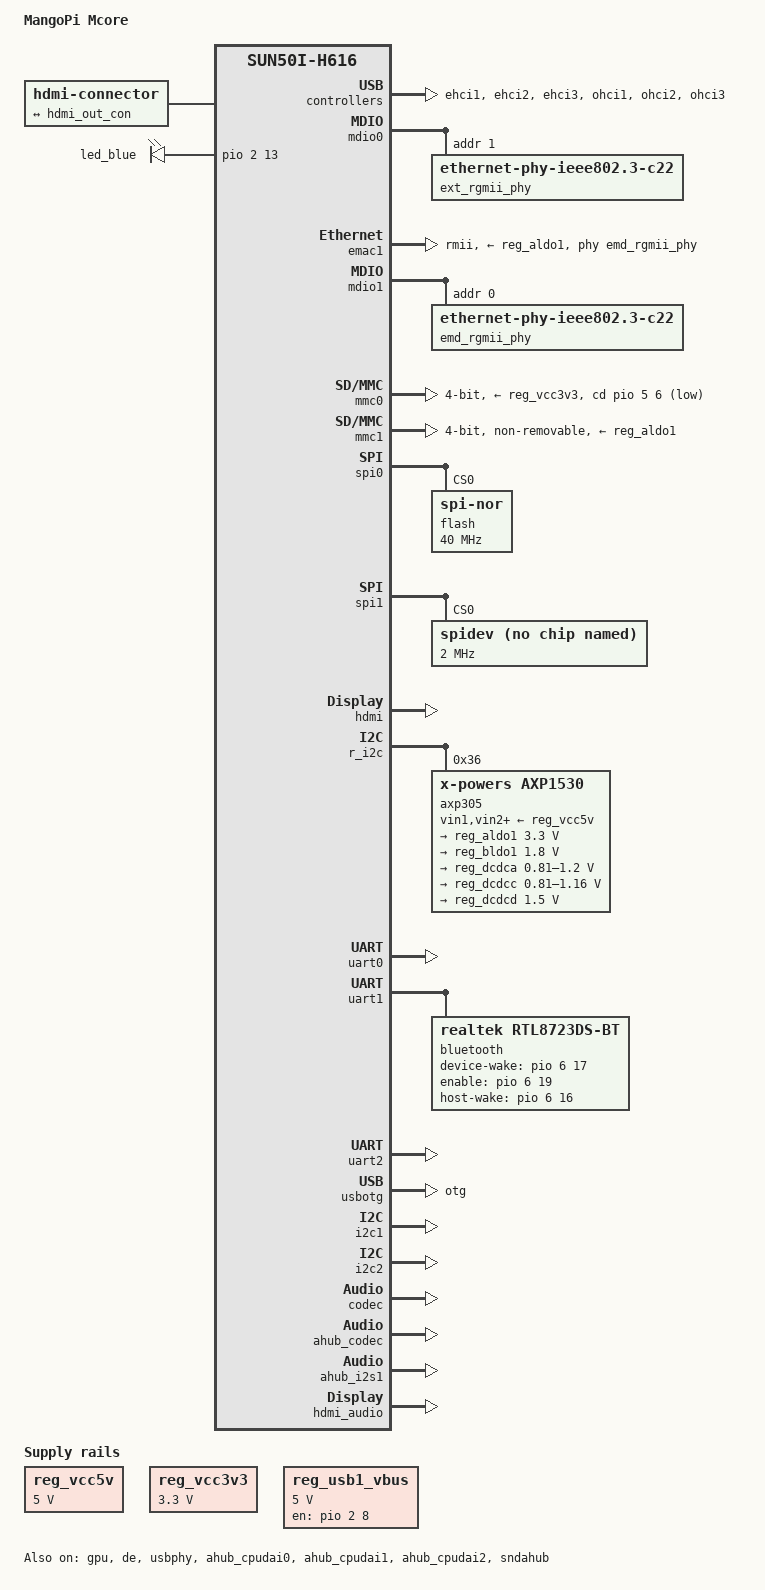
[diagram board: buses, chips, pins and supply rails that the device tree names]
// SPDX-License-Identifier: (GPL-2.0+ or MIT)
/*
 * Copyright (C) 2020 Arm Ltd.
 */

/dts-v1/;

#include "sun50i-h616.dtsi"

#include <dt-bindings/gpio/gpio.h>
#include <dt-bindings/interrupt-controller/arm-gic.h>
#include "sun50i-h616-cpu-opp.dtsi"

/ {
	model = "MangoPi Mcore";
	compatible = "mgcc,mangopi-mcore", "allwinner,sun50i-h616";

	aliases {
		ethernet0 = &emac0;
		ethernet1 = &emac1;
		serial0 = &uart0;
		serial1 = &uart2;
		mmc0 =&mmc0;
		mmc1 =&mmc1;
	};

	chosen {
		stdout-path = "serial0:115200n8";
	};
	
	connector {
		compatible = "hdmi-connector";
		type = "d";

		port {
			hdmi_con_in: endpoint {
				remote-endpoint = <&hdmi_out_con>;
			};
		};
	};

	leds {
		compatible = "gpio-leds";


		status {
			label = "led_blue";
			linux,default-trigger = "heartbeat";
			gpios = <&pio 2 13 GPIO_ACTIVE_HIGH>; /* PC13 */
			default-state = "on";
			
		};
	};
	

	reg_vcc5v: vcc5v {
		/* board wide 5V supply directly from the USB-C socket */
		compatible = "regulator-fixed";
		regulator-name = "vcc-5v";
		regulator-min-microvolt = <5000000>;
		regulator-max-microvolt = <5000000>;
		regulator-always-on;
	};

	reg_vcc3v3: vcc3v3 {
		compatible = "regulator-fixed";
		regulator-name = "vcc-3v3";
		regulator-min-microvolt = <3300000>;
		regulator-max-microvolt = <3300000>;
		regulator-always-on;
	};

	reg_usb1_vbus: usb1-vbus {
		compatible = "regulator-fixed";
		regulator-name = "usb1-vbus";
		regulator-min-microvolt = <5000000>;
		regulator-max-microvolt = <5000000>;
		enable-active-high;
		gpio = <&pio 2 8 GPIO_ACTIVE_HIGH>; /* PC8 */
		status = "okay";
	};
};

&cpu0 {
	cpu-supply = <&reg_dcdca>;
	status = "okay";
};

&gpu {
	mali-supply = <&reg_dcdcc>;
	status = "okay";
};

&ehci0 {
	status = "disabled";
};

&ehci1 {
	status = "okay";
};

&ehci2 {
	status = "okay";
};

&ehci3 {
	status = "okay";
};

/* USB 2 & 3 are on headers only. */

&emac0 {
	pinctrl-names = "default";
	pinctrl-0 = <&ext_rgmii_pins>;
	phy-mode = "rgmii";
	phy-handle = <&ext_rgmii_phy>;
	phy-supply = <&reg_aldo1>;
	allwinner,rx-delay-ps = <3100>;
	allwinner,tx-delay-ps = <700>;
	status = "disabled";
};

&mdio0 {
	ext_rgmii_phy: ethernet-phy@1 {
		compatible = "ethernet-phy-ieee802.3-c22";
		reg = <1>;
	};
};

&emac1{
	pinctrl-names = "default";
	pinctrl-0 = <&rmii_pins>;
	phy-mode = "rmii";
	phy-handle = <&emd_rgmii_phy>;
	phy-supply = <&reg_aldo1>;
	allwinner,rx-delay-ps = <3100>;
	allwinner,tx-delay-ps = <700>;
	status = "okay";
};

&mdio1 {
	emd_rgmii_phy: ethernet-phy@0 {
		compatible = "ethernet-phy-ieee802.3-c22";
		reg = <0>;
	};
};


&mmc0 {
	vmmc-supply = <&reg_vcc3v3>;
	cd-gpios = <&pio 5 6 GPIO_ACTIVE_LOW>;	/* PF6 */
	bus-width = <4>;
	status = "okay";
};

&mmc2 {
	vmmc-supply = <&reg_aldo1>;
	vqmmc-supply = <&reg_bldo1>;
	bus-width = <8>;
	non-removable;
	cap-mmc-hw-reset;
	mmc-hs200-1_8v;
	status = "disabled";
};

&mmc1 {
	vmmc-supply = <&reg_aldo1>;
	vqmmc-supply = <&reg_aldo1>;
	bus-width = <4>;
	non-removable;
	status = "okay";
};

&spi0  {
	status = "okay";

	flash@0 {
		#address-cells = <1>;
		#size-cells = <1>;
		compatible = "jedec,spi-nor";
		reg = <0>;
		spi-max-frequency = <40000000>;
	};
};

&spi1 {
	#address-cells = <1>;
	#size-cells = <0>;
	status = "okay";
	pinctrl-names = "default";
	pinctrl-0 = <&spi1_pins>,<&spi1_cs_pin>;
	spidev@0 {
		compatible = "rohm,dh2228fv";
		status = "okay";
		reg = <0>;
		spi-max-frequency = <2000000>;
	};
};

&ohci0 {
	status = "disabled";
};

&ohci1 {
	status = "okay";
};
&ohci2 {
	status = "okay";
};

&ohci3 {
	status = "okay";
};

&de {
	status = "okay";
};

&hdmi {
	hvcc-supply = <&reg_bldo1>;
	status = "okay";
};

&hdmi_out {
	hdmi_out_con: endpoint {
		remote-endpoint = <&hdmi_con_in>;
	};
};

&r_i2c {
	status = "okay";

	axp305: pmic@36  {
		compatible = "x-powers,axp1530";
		reg = <0x36>;

		/* dummy interrupt to appease the driver for now */
		interrupt-controller;
		#interrupt-cells = <1>;

		vin1-supply = <&reg_vcc5v>;
		vin2-supply = <&reg_vcc5v>;
		vin3-supply = <&reg_vcc5v>;
		ldo1in-supply = <&reg_vcc5v>;
		ldo2in-supply = <&reg_vcc5v>;

		regulators {
			reg_aldo1: ldo2 {
				regulator-always-on;
				regulator-min-microvolt = <3300000>;
				regulator-max-microvolt = <3300000>;
				regulator-name = "vcc-sys";
			};

			reg_bldo1: ldo1 {
				regulator-always-on;
				regulator-min-microvolt = <1800000>;
				regulator-max-microvolt = <1800000>;
				regulator-name = "vcc1v8";
			};

			reg_dcdca: dcdc2 {
				regulator-always-on;
				regulator-min-microvolt = <810000>;
				regulator-max-microvolt = <1200000>;
				regulator-name = "vdd-cpu";
			};

			reg_dcdcc: dcdc1 {
				regulator-always-on;
				regulator-min-microvolt = <810000>;
				regulator-max-microvolt = <1160000>;
				regulator-name = "vdd-gpu-sys";
			};

			reg_dcdcd: dcdc3 {
				regulator-always-on;
				regulator-min-microvolt = <1500000>;
				regulator-max-microvolt = <1500000>;
				regulator-name = "vdd-dram";
			};

		};
	};
};

&uart0 {
	pinctrl-names = "default";
	pinctrl-0 = <&uart0_ph_pins>;
	status = "okay";
};

&uart1 {
	uart-has-rtscts;
	pinctrl-0 = <&uart1_pins>, <&uart1_rts_cts_pins>;
	pinctrl-names = "default";
	status = "okay";

	bluetooth {
              compatible = "realtek,rtl8723ds-bt";
              device-wake-gpios = <&pio 6 17 GPIO_ACTIVE_HIGH>; /* PG17 */
              enable-gpios = <&pio 6 19 GPIO_ACTIVE_HIGH>; /* PG19 */
              host-wake-gpios = <&pio 6 16 GPIO_ACTIVE_HIGH>; /* PG16 */
	};
};

&uart2 {
	pinctrl-names = "default";
	pinctrl-0 = <&uart2_pins>;
	status = "okay";
};

&usbotg {
	dr_mode = "otg";	/* USB A type receptable */
	status = "okay";
};

&usbphy {
	status = "okay";
};

&i2c1 {
	pinctrl-names = "default";
	pinctrl-0 = <&i2c1_pins>;
	status = "okay";
};

&i2c2 {
	pinctrl-names = "default";
	pinctrl-0 = <&i2c2_pins>;
	status = "okay";
};

&codec {
	allwinner,audio-routing =
		"Line Out", "LINEOUT";
	status = "okay";
};

&ahub_codec {
	status = "okay";
};

&ahub_cpudai0 {
	status = "okay";
};

&ahub_cpudai1 {
	status = "okay";
};

&ahub_cpudai2 {
	status = "okay";
};

&sndahub {
	status = "okay";
};

&ahub_i2s1 {
	status = "okay";
};

&hdmi_audio {
	status = "okay";
};
